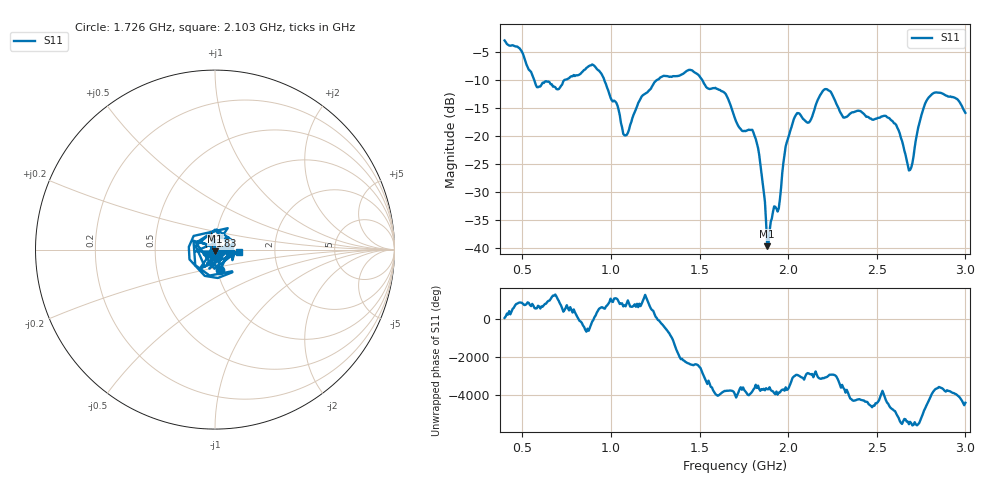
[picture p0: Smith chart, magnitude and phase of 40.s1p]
!Created with skrf (http://scikit-rf.org).
# Hz S RI R 50.0
!freq ReS11 ImS11
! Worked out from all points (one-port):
!   401 points, 400 MHz to 3 GHz, reference 50 ohm
!   lowest |S11| = -39.8 dB at 1.882 GHz (marker M1), VSWR 1.02, Z = 50.2 - j1.02 ohm
!   |S11| at or under -10 dB: 566.3 MHz to 743.3 MHz (177 MHz wide, 27 % of centre); 962 MHz to 1.263 GHz (300.8 MHz wide, 27 % of centre); 1.514 GHz to end of sweep
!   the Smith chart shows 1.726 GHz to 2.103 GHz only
!   S11 on the Smith chart (normalised r, x): 1.726 GHz: 1.03, -0.24; 1.83 GHz: 0.94, +0.14; 2.103 GHz: 1.30, -0.04
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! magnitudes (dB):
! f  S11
! 400 MHz  -3.0
! 491 MHz  -4.7
! 588.5 MHz  -11.3
! 725 MHz  -10.8
! 900.5 MHz  -7.4
! 1.05 GHz  -16.4
! 1.083 GHz  -20.0
! 1.18 GHz  -12.8
! 1.375 GHz  -9.3
! 1.453 GHz  -8.3
! 1.635 GHz  -12.2
! 1.7 GHz  -16.9
! 1.726 GHz  -18.6
! 1.798 GHz  -19.0
! 1.83 GHz  -22.2
! 1.882 GHz  -39.8
! 1.947 GHz  -33.0
! 1.986 GHz  -21.9
! 2.025 GHz  -17.8
! 2.103 GHz  -17.6
! 2.213 GHz  -11.7
! 2.35 GHz  -16.1
! 2.578 GHz  -17.1
! 2.675 GHz  -25.4
! 2.695 GHz  -25.7
! 2.753 GHz  -16.2
! 2.805 GHz  -12.8
! 3 GHz  -15.9
